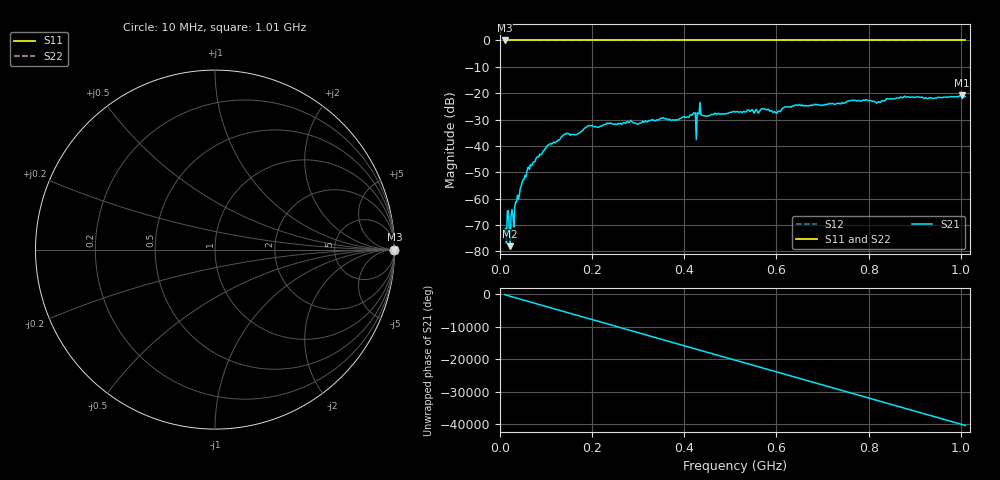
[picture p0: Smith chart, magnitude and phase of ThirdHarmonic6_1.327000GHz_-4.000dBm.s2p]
! 8/16/2025 2:47:52 PM
! C:\ANRITSUVNA\TEMP\TEMP.S2P
! CHANNEL.1
! TR.MEASUREMENT
! RAW.DATA
! RF.CORRECTION.OFF
! AVERAGING.OFF
! IF.BANDWIDTH: 5KHZ
! SWEEPTYPE:  FREQ.SWEEP(Linear)
! Reference Plane Port Info
! PORT:  PORT1  PORT2
! DISTANCE:  0  m  0  m
! TIME:  0  s  0  s
! PHASE.OFFSET:  0  deg.  0  deg.
! LOSS:  0  dB  0  dB
! REF.LOSS:  0  dB  0  dB
! REF.FREQ:  0  Hz  0  Hz
! Power Info
! POWER:  -20  dBm  -20  dBm
! EFF.POWER:  -20  dBm  -20  dBm
! SOURCE.ATTEN:  0  dB  0  dB
! TEST.ATTEN:  0  dB  0  dB
# GHZ S RI R 50.0
! FREQ.GHZ  S11RE  S11IM  S21RE  S21IM  S12RE  S12IM  S22RE  S22IM
!; PortSelection: Port_12
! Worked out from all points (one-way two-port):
!   501 points, 10 MHz to 1.01 GHz, reference 50 ohm
!   highest |S21| = -20.82 dB at 1.002 GHz (marker M1); lowest = -78.0 dB at 22 MHz (marker M2)
!   lowest |S11| = 0.0 dB at 10 MHz (marker M3)
!   |S11| at or under -10 dB: nowhere
!   |S22| runs from 0.0 to 0.0 dB; largest |S21 - S12| = 1.1
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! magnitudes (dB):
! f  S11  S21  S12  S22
! 10 MHz  0.0  -73.1  0.0  0.0
! 14 MHz  0.0  -76.8  0.0  0.0
! 18 MHz  0.0  -64.5  0.0  0.0
! 22 MHz  0.0  -78.0  0.0  0.0
! 26 MHz  0.0  -64.2  0.0  0.0
! 28 MHz  0.0  -66.4  0.0  0.0
! 48 MHz  0.0  -53.8  0.0  0.0
! 64 MHz  0.0  -48.9  0.0  0.0
! 106 MHz  0.0  -39.6  0.0  0.0
! 178 MHz  0.0  -34.3  0.0  0.0
! 194 MHz  0.0  -32.2  0.0  0.0
! 344 MHz  0.0  -30.2  0.0  0.0
! 420 MHz  0.0  -27.5  0.0  0.0
! 428 MHz  0.0  -27.4  0.0  0.0
! 432 MHz  0.0  -27.8  0.0  0.0
! 446 MHz  0.0  -28.7  0.0  0.0
! 510 MHz  0.0  -27.1  0.0  0.0
! 598 MHz  0.0  -27.3  0.0  0.0
! 678 MHz  0.0  -24.5  0.0  0.0
! 844 MHz  0.0  -22.2  0.0  0.0
! 1.002 GHz  0.0  -20.8  0.0  0.0
! 1.01 GHz  0.0  -21.2  0.0  0.0
